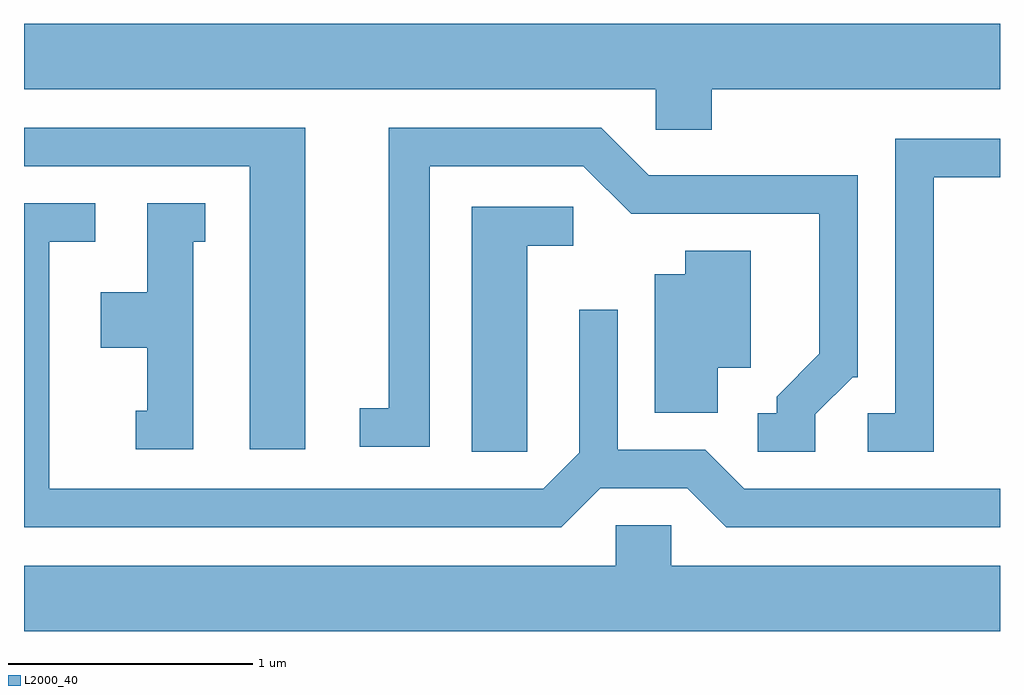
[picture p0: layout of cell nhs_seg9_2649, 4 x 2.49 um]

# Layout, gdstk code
import gdstk
lib = gdstk.Library(unit=1e-6, precision=1e-09)
def P(c, l, *ps):  # polygons
    for p in ps: c.add(gdstk.Polygon(p, *l))
L2000_40 = (2000, 40)

nhs_seg9_2649 = lib.new_cell('nhs_seg9_2649')
P(nhs_seg9_2649, L2000_40, [(266.429,1949.636),(267.611,1949.636),(267.611,1949.904),(263.611,1949.904),(263.611,1949.636),(266.201,1949.636),(266.201,1949.471),(266.429,1949.471)],
  [(266.854,1948.304),(267.007,1948.456),(267.029,1948.456),(267.029,1949.284),(266.172,1949.284),(265.977,1949.479),(265.106,1949.479),(265.106,1948.329),(264.988,1948.329),(264.988,1948.171),(265.274,1948.171),(265.274,1949.321),(265.904,1949.321),(266.099,1949.126),(266.871,1949.126),(266.871,1948.552),(266.696,1948.377),(266.696,1948.309),(266.618,1948.309),(266.618,1948.151),(266.854,1948.151)],
  [(264.764,1949.479),(263.611,1949.479),(263.611,1949.321),(264.536,1949.321),(264.536,1948.161),(264.764,1948.161)],
  [(267.339,1949.276),(267.611,1949.276),(267.611,1949.434),(267.181,1949.434),(267.181,1948.309),(267.068,1948.309),(267.068,1948.151),(267.339,1948.151)],
  [(265.972,1948.001),(266.329,1948.001),(266.489,1947.841),(267.611,1947.841),(267.611,1947.999),(266.562,1947.999),(266.402,1948.159),(266.044,1948.159),(266.044,1948.733),(265.886,1948.733),(265.886,1948.147),(265.739,1947.999),(263.714,1947.999),(263.714,1949.011),(263.903,1949.011),(263.903,1949.169),(263.611,1949.169),(263.611,1947.841),(265.812,1947.841)],
  [(264.304,1949.011),(264.353,1949.011),(264.353,1949.169),(264.116,1949.169),(264.116,1948.804),(263.926,1948.804),(263.926,1948.576),(264.116,1948.576),(264.116,1948.319),(264.068,1948.319),(264.068,1948.161),(264.304,1948.161)],
  [(265.674,1948.996),(265.863,1948.996),(265.863,1949.154),(265.446,1949.154),(265.446,1948.151),(265.674,1948.151)],
  [(266.454,1948.496),(266.589,1948.496),(266.589,1948.974),(266.321,1948.974),(266.321,1948.879),(266.196,1948.879),(266.196,1948.311),(266.454,1948.311)],
  [(267.611,1947.684),(266.264,1947.684),(266.264,1947.849),(266.036,1947.849),(266.036,1947.684),(263.611,1947.684),(263.611,1947.416),(267.611,1947.416)])

lib.write_gds('nhs_seg9_2649.gds')
